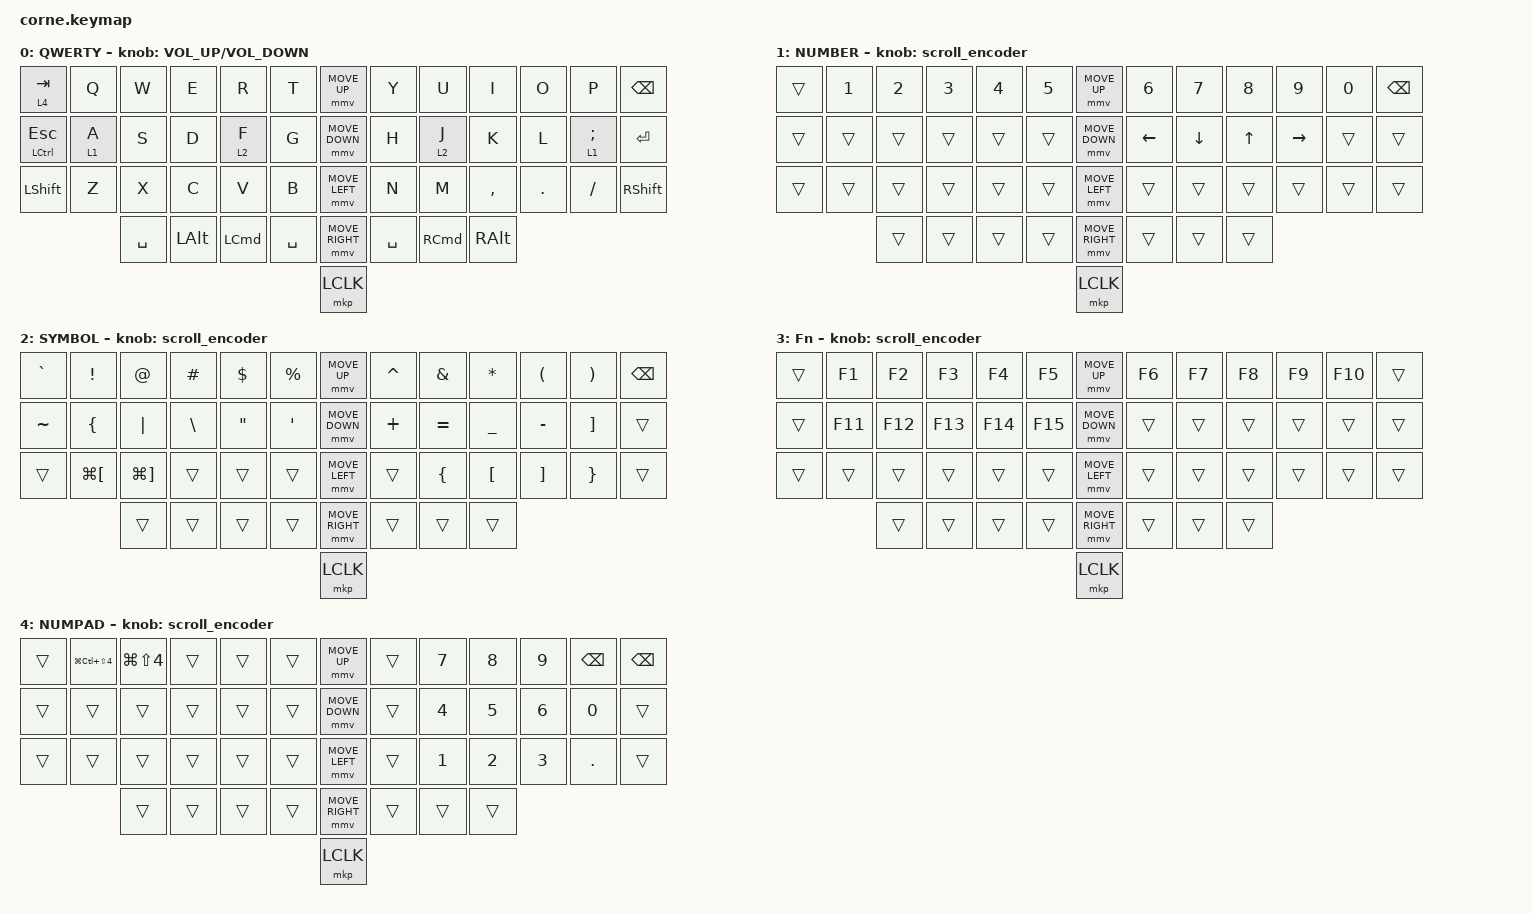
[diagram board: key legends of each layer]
#include <behaviors/mouse_keys.dtsi>
#include <behaviors.dtsi>
#include <dt-bindings/zmk/bt.h>
#include <dt-bindings/zmk/keys.h>
#include <dt-bindings/zmk/mouse.h>
#include <dt-bindings/zmk/outputs.h>
#include <dt-bindings/zmk/rgb.h>

#define ZMK_MOUSE_DEFAULT_MOVE_VAL 1200  // 600
#define ZMK_MOUSE_DEFAULT_SCRL_VAL 20    // 10
#define U_MS_U &mmv MOVE_UP
#define U_MS_D &mmv MOVE_DOWN
#define U_MS_L &mmv MOVE_LEFT
#define U_MS_R &mmv MOVE_RIGHT

/ {
    behaviors {
        td0: td0 {
            compatible = "zmk,behavior-tap-dance";
            label = "TD0";
            #binding-cells = <0>;
            bindings = <&kp LEFT_SHIFT>, <&kp CAPS>;
        };

        mmv {
            acceleration-exponent = <1>;      // 1
            time-to-max-speed-ms = <900>;    // 40
            delay-ms = <0>;                   // 0
        };

        msc {
            acceleration-exponent = <1>;      // 0
            time-to-max-speed-ms = <400>;      // 500
            delay-ms = <0>;                   // 10
        };
    };

    rgb_encoder: rgb_encoder {
        compatible = "zmk,behavior-sensor-rotate";
        label = "RGB_ENCODER";
        #sensor-binding-cells = <0>;
        bindings = <&rgb_ug RGB_BRI>, <&rgb_ug RGB_BRD>;
    };

    scroll_encoder: scroll_encoder {
        compatible = "zmk,behavior-sensor-rotate";
        #sensor-binding-cells = <0>;
        bindings = <&msc SCRL_DOWN>, <&msc SCRL_UP>;

        tap-ms = <30>;
    };

    keymap {
        compatible = "zmk,keymap";

        default_layer {
            display-name = "QWERTY";

            // --------------------------------------------------------------------------------
            // |  TAB |  Q  |  W  |  E  |  R  |  T  |                ↑    |  Y  |  U   |  I  |  O  |  P  | BKSP |      &kp UP_ARROW 
            // | SHIFT |  A  |  S  |  D  |  F  |  G  |               ↓    |  H  |  J   |  K  |  L  |  ;  |  '   | 
            // | CTRL |  Z  |  X  |  C  |  V  |  B  |                ←    |  N  |  M   |  ,  |  .  |  /  | ESC  |
            //                    | GUI | LWR | SPC |                →    | ENT | RSE  | ALT |
            //                                                      enter

            bindings = <
&lt 4 TAB      &kp Q    &kp W     &kp E         &kp R             &kp T     &mmv MOVE_UP     &kp Y      &kp U              &kp I          &kp O    &kp P       &kp BSPC
&mt LCTRL ESC  &lt 1 A  &kp S     &kp D         &lt 2 F           &kp G     &mmv MOVE_DOWN   &kp H      &lt 2 J            &kp K          &kp L    &lt 1 SEMI  &kp RET
&kp LSHIFT     &kp Z    &kp X     &kp C         &kp V             &kp B     &mmv MOVE_LEFT   &kp N      &kp M              &kp COMMA      &kp DOT  &kp FSLH    &kp RIGHT_SHIFT
                        &kp SPACE &kp LEFT_ALT  &kp LEFT_COMMAND  &kp SPACE &mmv MOVE_RIGHT  &kp SPACE  &kp RIGHT_COMMAND  &kp RIGHT_ALT
                                                                            &mkp LCLK
            >;

            label = "QWERTY";
            sensor-bindings = <&inc_dec_kp C_VOLUME_UP C_VOLUME_DOWN>;
        };

        number {
            display-name = "NUMBER";

            // -----------------------------------------------------------------------------------------
            // |  TAB |  1  |  2  |  3  |  4  |  5  |   |  6  |  7  |  8  |  9  |  0  | BKSP |
            // | BTCLR| BT1 | BT2 | BT3 | BT4 | BT5 |   | LFT | DWN |  UP | RGT |     |      |
            // | SHFT |     |     |     |     |     |   |     |     |     |     |     |      |
            //                    | GUI |     | SPC |   | ENT |     | ALT |

            bindings = <
&trans  &kp N1  &kp N2  &kp N3  &kp N4  &kp N5 &mmv MOVE_UP     &kp N6  &kp N7    &kp N8    &kp N9  &kp N0     &kp BACKSPACE
&trans  &trans  &trans  &trans  &trans  &trans &mmv MOVE_DOWN   &kp LEFT  &kp DOWN  &kp UP  &kp RIGHT  &trans &trans
&trans  &trans  &trans  &trans  &trans  &trans &mmv MOVE_LEFT   &trans  &trans    &trans    &trans  &trans     &trans
                &trans  &trans  &trans  &trans &mmv MOVE_RIGHT  &trans  &trans    &trans
                                               &mkp LCLK
            >;

            label = "NUMBER";
            sensor-bindings = <&scroll_encoder>;
        };

        symbol {
            display-name = "SYMBOL";

            // -----------------------------------------------------------------------------------------
            // |  TAB |  !  |  @  |  #  |  $  |  %  |   |  ^  |  &  |  *  |  (  |  )  | BKSP |
            // | CTRL |     |     |     |     |     |   |  -  |  =  |  [  |  ]  |  \  |  `   |
            // | SHFT |     |     |     |     |     |   |  _  |  +  |  {  |  }  | "|" |  ~   |
            //                    | GUI |     | SPC |   | ENT |     | ALT |

            bindings = <
&kp GRAVE  &kp EXCL              &kp AT                 &kp HASH  &kp DLLR  &kp PRCNT &mmv MOVE_UP     &kp CARET  &kp AMPS   &kp ASTRK  &kp LPAR   &kp RPAR  &kp BSPC
&kp TILDE  &kp LBRC              &kp PIPE               &kp BSLH  &kp DQT   &kp SQT   &mmv MOVE_DOWN   &kp PLUS   &kp EQUAL  &kp UNDER  &kp MINUS  &kp RBKT  &trans
&trans     &kp LG(LEFT_BRACKET)  &kp LG(RIGHT_BRACKET)  &trans    &trans    &trans    &mmv MOVE_LEFT   &trans     &kp LBRC   &kp LBKT   &kp RBKT   &kp RBRC  &trans
                                 &trans                 &trans    &trans    &trans    &mmv MOVE_RIGHT  &trans     &trans     &trans
                                                                                      &mkp LCLK
            >;

            label = "SYMBOL";
            sensor-bindings = <&scroll_encoder>;
        };

        fn {
            display-name = "Fn";
            bindings = <
&trans  &kp F1   &kp F2   &kp F3   &kp F4   &kp F5  &mmv MOVE_UP     &kp F6  &kp F7  &kp F8  &kp F9  &kp F10  &trans
&trans  &kp F11  &kp F12  &kp F13  &kp F14  &kp F15 &mmv MOVE_DOWN   &trans  &trans  &trans  &trans  &trans   &trans
&trans  &trans   &trans   &trans   &trans   &trans  &mmv MOVE_LEFT   &trans  &trans  &trans  &trans  &trans   &trans
                 &trans   &trans   &trans   &trans  &mmv MOVE_RIGHT  &trans  &trans  &trans
                                                    &mkp LCLK
            >;

            label = "FN";
            sensor-bindings = <&scroll_encoder>;
        };

        numpad {
            bindings = <
&trans  &kp LG(LC(LS(N4)))  &kp LG(LS(N4))  &trans  &trans  &trans &mmv MOVE_UP     &trans  &kp N7  &kp N8  &kp N9  &kp BSPC  &kp BACKSPACE
&trans  &trans              &trans          &trans  &trans  &trans &mmv MOVE_DOWN   &trans  &kp N4  &kp N5  &kp N6  &kp N0    &trans
&trans  &trans              &trans          &trans  &trans  &trans &mmv MOVE_LEFT   &trans  &kp N1  &kp N2  &kp N3  &kp DOT   &trans
                            &trans          &trans  &trans  &trans &mmv MOVE_RIGHT  &trans  &trans  &trans
                                                                   &mkp LCLK
            >;

            label = "NUMPAD";
            sensor-bindings = <&scroll_encoder>;
        };
    };
};
